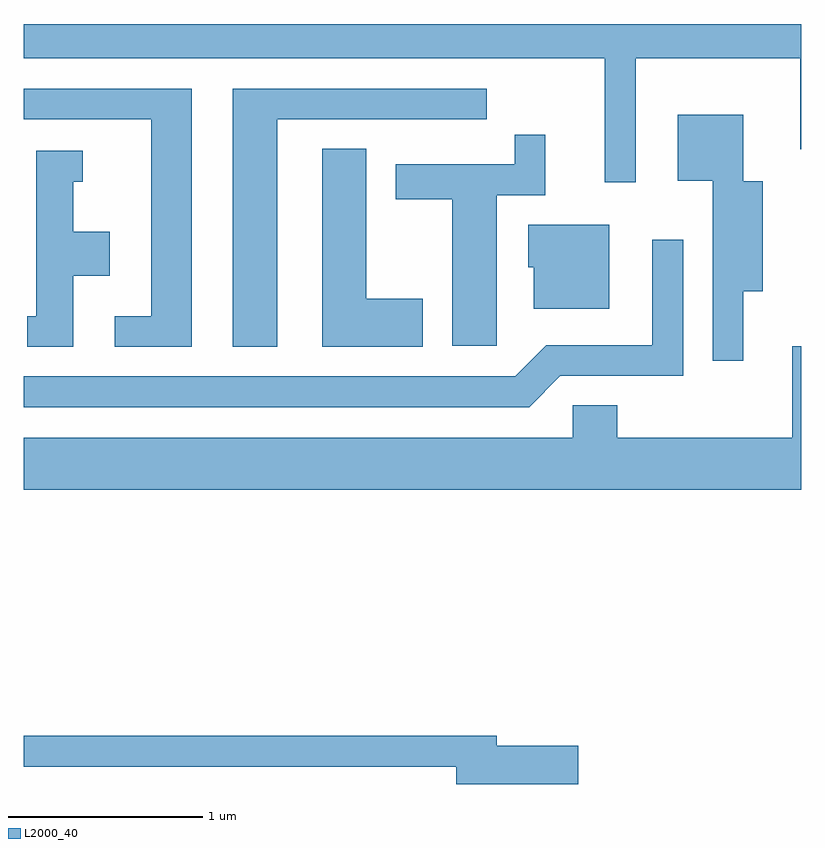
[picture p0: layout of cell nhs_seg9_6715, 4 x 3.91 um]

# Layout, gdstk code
import gdstk
lib = gdstk.Library(unit=1e-6, precision=1e-09)
def P(c, l, *ps):  # polygons
    for p in ps: c.add(gdstk.Polygon(p, *l))
L2000_40 = (2000, 40)

nhs_seg9_6715 = lib.new_cell('nhs_seg9_6715')
P(nhs_seg9_6715, L2000_40, [(386.759,1996.256),(387.606,1996.256),(387.606,1995.788),(387.611,1995.788),(387.611,1996.432),(383.611,1996.432),(383.611,1996.256),(386.601,1996.256),(386.601,1995.618),(386.759,1995.618)],
  [(384.914,1995.941),(385.993,1995.941),(385.993,1996.099),(384.686,1996.099),(384.686,1994.771),(384.914,1994.771)],
  [(384.474,1996.099),(383.611,1996.099),(383.611,1995.941),(384.266,1995.941),(384.266,1994.929),(384.078,1994.929),(384.078,1994.771),(384.474,1994.771)],
  [(387.314,1995.056),(387.414,1995.056),(387.414,1995.624),(387.314,1995.624),(387.314,1995.964),(386.976,1995.964),(386.976,1995.626),(387.156,1995.626),(387.156,1994.698),(387.314,1994.698)],
  [(386.044,1995.551),(386.294,1995.551),(386.294,1995.863),(386.136,1995.863),(386.136,1995.709),(385.526,1995.709),(385.526,1995.531),(385.816,1995.531),(385.816,1994.776),(386.044,1994.776)],
  [(385.664,1995.019),(385.374,1995.019),(385.374,1995.789),(385.146,1995.789),(385.146,1994.771),(385.664,1994.771)],
  [(383.864,1995.136),(384.054,1995.136),(384.054,1995.364),(383.864,1995.364),(383.864,1995.621),(383.913,1995.621),(383.913,1995.779),(383.676,1995.779),(383.676,1994.929),(383.628,1994.929),(383.628,1994.771),(383.864,1994.771)],
  [(386.624,1995.399),(386.206,1995.399),(386.206,1995.181),(386.236,1995.181),(386.236,1994.966),(386.624,1994.966)],
  [(386.372,1994.621),(387.004,1994.621),(387.004,1995.323),(386.846,1995.323),(386.846,1994.779),(386.299,1994.779),(386.139,1994.619),(383.611,1994.619),(383.611,1994.461),(386.212,1994.461)],
  [(387.611,1994.774),(387.566,1994.774),(387.566,1994.304),(386.664,1994.304),(386.664,1994.469),(386.436,1994.469),(386.436,1994.304),(383.611,1994.304),(383.611,1994.036),(387.611,1994.036)],
  [(386.464,1992.719),(386.044,1992.719),(386.044,1992.769),(383.611,1992.769),(383.611,1992.611),(385.836,1992.611),(385.836,1992.521),(386.464,1992.521)])

lib.write_gds('nhs_seg9_6715.gds')
